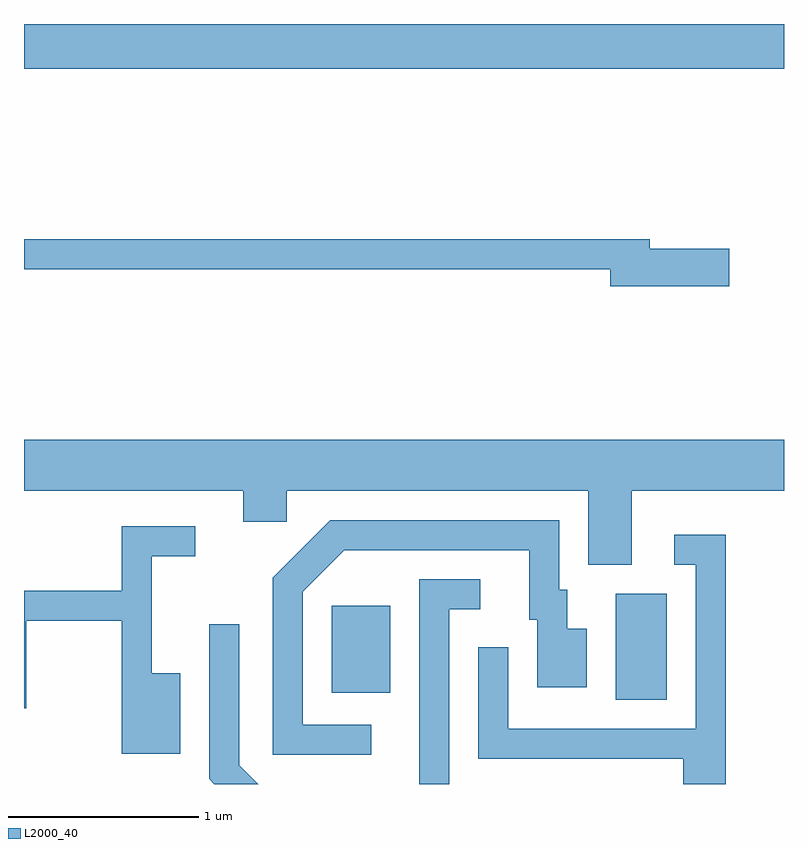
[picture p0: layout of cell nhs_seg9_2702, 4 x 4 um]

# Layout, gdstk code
import gdstk
lib = gdstk.Library(unit=1e-6, precision=1e-09)
def R(c, l, rs):  # rectangles x0, y0, x1, y1
    for r in rs: c.add(gdstk.rectangle(r[:2], r[2:], *l))
def P(c, l, *ps):  # polygons
    for p in ps: c.add(gdstk.Polygon(p, *l))
L2000_40 = (2000, 40)

nhs_seg9_2702 = lib.new_cell('nhs_seg9_2702')
R(nhs_seg9_2702, L2000_40, [(266.726,2052.876,266.994,2053.434), (265.231,2052.911,265.539,2053.369), (263.611,2056.196,267.611,2056.432)])
P(nhs_seg9_2702, L2000_40, [(267.324,2055.249),(266.904,2055.249),(266.904,2055.299),(263.611,2055.299),(263.611,2055.141),(266.696,2055.141),(266.696,2055.051),(267.324,2055.051)],
  [(266.809,2053.976),(267.611,2053.976),(267.611,2054.244),(263.611,2054.244),(263.611,2053.976),(264.766,2053.976),(264.766,2053.811),(264.994,2053.811),(264.994,2053.976),(266.581,2053.976),(266.581,2053.586),(266.809,2053.586)],
  [(265.438,2052.744),(265.079,2052.744),(265.079,2053.443),(265.297,2053.661),(266.271,2053.661),(266.271,2053.296),(266.311,2053.296),(266.311,2052.941),(266.574,2052.941),(266.574,2053.249),(266.469,2053.249),(266.469,2053.454),(266.429,2053.454),(266.429,2053.819),(265.224,2053.819),(264.921,2053.517),(264.921,2052.586),(265.438,2052.586)],
  [(264.434,2053.014),(264.284,2053.014),(264.284,2053.631),(264.513,2053.631),(264.513,2053.789),(264.126,2053.789),(264.126,2053.449),(263.611,2053.449),(263.611,2052.831),(263.624,2052.831),(263.624,2053.291),(264.126,2053.291),(264.126,2052.591),(264.434,2052.591)],
  [(267.304,2053.744),(267.033,2053.744),(267.033,2053.586),(267.146,2053.586),(267.146,2052.724),(266.159,2052.724),(266.159,2053.153),(266.001,2053.153),(266.001,2052.566),(267.081,2052.566),(267.081,2052.432),(267.304,2052.432)],
  [(265.849,2053.351),(266.013,2053.351),(266.013,2053.509),(265.691,2053.509),(265.691,2052.432),(265.849,2052.432)],
  [(264.744,2052.532),(264.744,2053.273),(264.586,2053.273),(264.586,2052.459),(264.613,2052.432),(264.844,2052.432)])

lib.write_gds('nhs_seg9_2702.gds')
